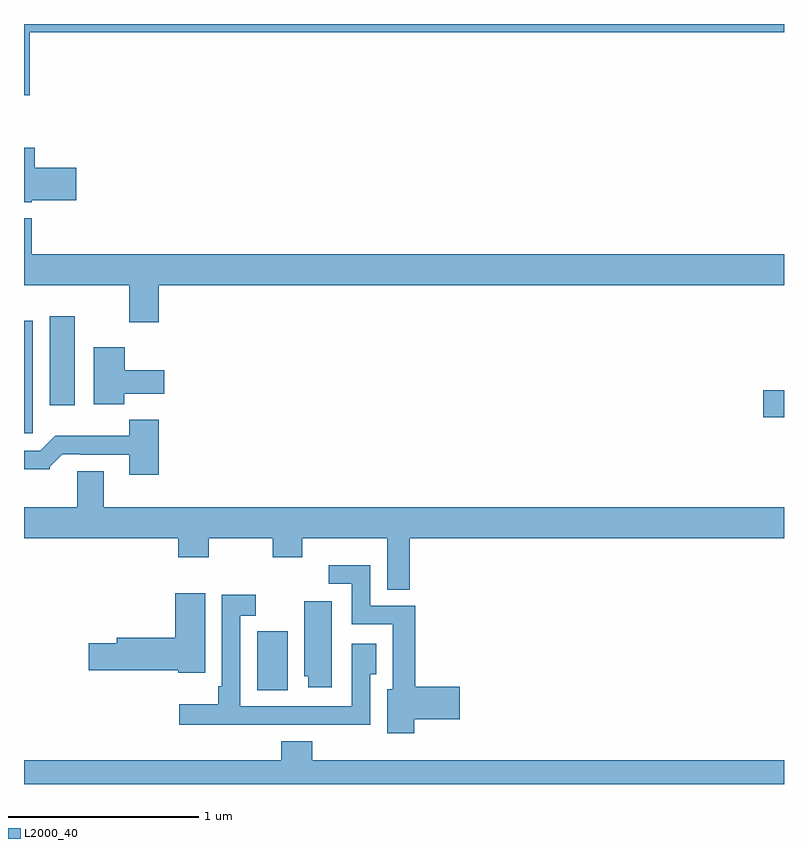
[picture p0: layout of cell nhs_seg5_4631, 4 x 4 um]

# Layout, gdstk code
import gdstk
lib = gdstk.Library(unit=1e-6, precision=1e-09)
def R(c, l, rs):  # rectangles x0, y0, x1, y1
    for r in rs: c.add(gdstk.rectangle(r[:2], r[2:], *l))
def P(c, l, *ps):  # polygons
    for p in ps: c.add(gdstk.Polygon(p, *l))
L2000_40 = (2000, 40)

nhs_seg5_4631 = lib.new_cell('nhs_seg5_4631')
R(nhs_seg5_4631, L2000_40, [(384.227,857.293,384.388,857.604), (383,858.645,383.047,859.237), (386.892,858.73,387,858.872), (383.135,858.792,383.266,859.261)])
P(nhs_seg5_4631, L2000_40, [(383.03,860.756),(387,860.756),(387,860.799),(383,860.799),(383,860.424),(383.03,860.424)],
  [(383.04,859.871),(383.275,859.871),(383.275,860.042),(383.057,860.042),(383.057,860.149),(383,860.149),(383,859.862),(383.04,859.862)],
  [(383.708,859.424),(387,859.424),(387,859.588),(383.042,859.588),(383.042,859.777),(383,859.777),(383,859.424),(383.555,859.424),(383.555,859.23),(383.708,859.23)],
  [(383.528,858.854),(383.737,858.854),(383.737,858.976),(383.53,858.976),(383.53,859.099),(383.366,859.099),(383.366,858.797),(383.528,858.797)],
  [(383.708,858.715),(383.553,858.715),(383.553,858.631),(383.164,858.631),(383.085,858.552),(383,858.552),(383,858.455),(383.136,858.455),(383.136,858.47),(383.2,858.534),(383.299,858.534),(383.299,858.531),(383.555,858.531),(383.555,858.426),(383.708,858.426)],
  [(385.03,858.092),(387,858.092),(387,858.256),(383.419,858.256),(383.419,858.446),(383.279,858.446),(383.279,858.256),(383,858.256),(383,858.092),(383.813,858.092),(383.813,857.993),(383.973,857.993),(383.973,858.092),(384.31,858.092),(384.31,857.993),(384.465,857.993),(384.465,858.092),(384.911,858.092),(384.911,857.821),(385.03,857.821)],
  [(385.055,857.141),(385.294,857.141),(385.294,857.312),(385.06,857.312),(385.06,857.736),(384.822,857.736),(384.822,857.95),(384.603,857.95),(384.603,857.853),(384.726,857.853),(384.726,857.64),(384.941,857.64),(384.941,857.299),(384.911,857.299),(384.911,857.067),(385.055,857.067)],
  [(383.953,857.803),(383.795,857.803),(383.795,857.57),(383.489,857.57),(383.489,857.54),(383.34,857.54),(383.34,857.398),(383.811,857.398),(383.811,857.384),(383.953,857.384)],
  [(384.235,857.112),(384.601,857.112),(384.601,857.111),(384.822,857.111),(384.822,857.377),(384.853,857.377),(384.853,857.536),(384.726,857.536),(384.726,857.208),(384.138,857.208),(384.138,857.685),(384.22,857.685),(384.22,857.794),(384.042,857.794),(384.042,857.314),(384.022,857.314),(384.022,857.218),(383.817,857.218),(383.817,857.111),(384.235,857.111)],
  [(384.619,857.761),(384.476,857.761),(384.476,857.367),(384.497,857.367),(384.497,857.307),(384.619,857.307)],
  [(387,856.924),(384.518,856.924),(384.518,857.023),(384.353,857.023),(384.353,856.924),(383,856.924),(383,856.799),(387,856.799)])

lib.write_gds('nhs_seg5_4631.gds')
